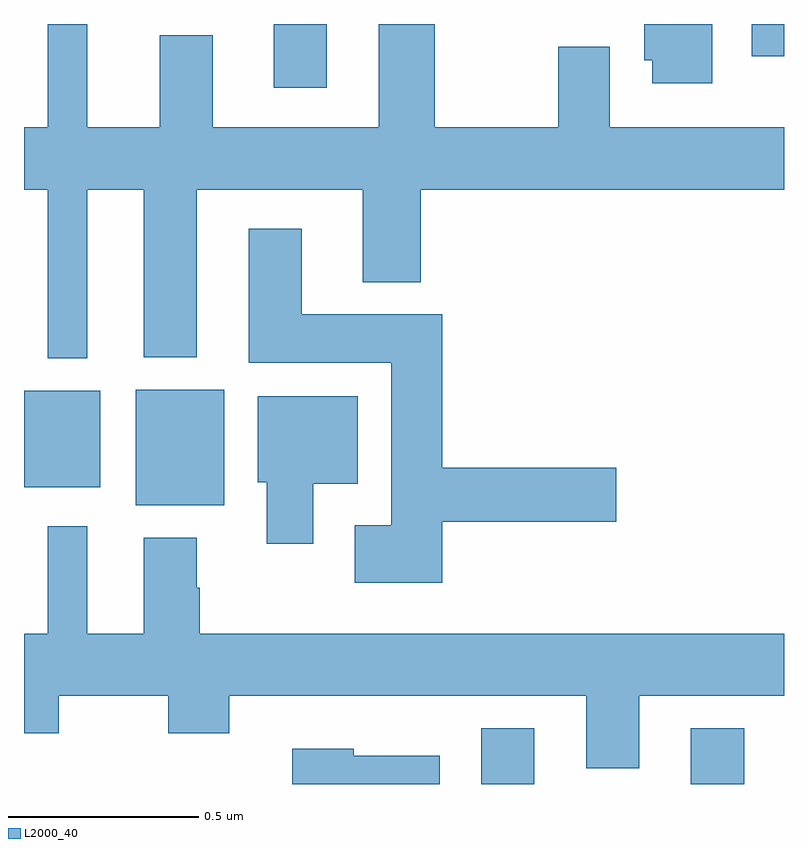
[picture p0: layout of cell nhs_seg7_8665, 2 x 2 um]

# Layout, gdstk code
import gdstk
lib = gdstk.Library(unit=1e-6, precision=1e-09)
def R(c, l, rs):  # rectangles x0, y0, x1, y1
    for r in rs: c.add(gdstk.rectangle(r[:2], r[2:], *l))
def P(c, l, *ps):  # polygons
    for p in ps: c.add(gdstk.Polygon(p, *l))
L2000_40 = (2000, 40)

nhs_seg7_8665 = lib.new_cell('nhs_seg7_8665')
R(nhs_seg7_8665, L2000_40, [(228.203,1051,228.343,1051.147), (228.755,1051,228.895,1051.147), (227.294,1051.733,227.527,1052.038), (227,1051.781,227.2,1052.035), (227.657,1052.832,227.797,1053), (228.915,1052.915,229,1053)])
P(nhs_seg7_8665, L2000_40, [(227.167,1052.564),(227.315,1052.564),(227.315,1052.123),(227.455,1052.123),(227.455,1052.564),(227.891,1052.564),(227.891,1052.321),(228.044,1052.321),(228.044,1052.564),(229,1052.564),(229,1052.728),(228.541,1052.728),(228.541,1052.94),(228.406,1052.94),(228.406,1052.728),(228.081,1052.728),(228.081,1053),(227.933,1053),(227.933,1052.728),(227.497,1052.728),(227.497,1052.971),(227.357,1052.971),(227.357,1052.728),(227.167,1052.728),(227.167,1053),(227.063,1053),(227.063,1052.728),(227,1052.728),(227,1052.564),(227.063,1052.564),(227.063,1052.12),(227.167,1052.12)],
  [(228.811,1053),(228.632,1053),(228.632,1052.904),(228.653,1052.904),(228.653,1052.844),(228.811,1052.844)],
  [(228.101,1051.69),(228.559,1051.69),(228.559,1051.832),(228.101,1051.832),(228.101,1052.236),(227.731,1052.236),(227.731,1052.461),(227.591,1052.461),(227.591,1052.108),(227.966,1052.108),(227.966,1051.681),(227.871,1051.681),(227.871,1051.529),(228.101,1051.529)],
  [(227.761,1051.79),(227.878,1051.79),(227.878,1052.02),(227.615,1052.02),(227.615,1051.794),(227.639,1051.794),(227.639,1051.632),(227.761,1051.632)],
  [(228.619,1051.232),(229,1051.232),(229,1051.396),(227.463,1051.396),(227.463,1051.517),(227.455,1051.517),(227.455,1051.648),(227.315,1051.648),(227.315,1051.396),(227.167,1051.396),(227.167,1051.678),(227.063,1051.678),(227.063,1051.396),(227,1051.396),(227,1051.133),(227.091,1051.133),(227.091,1051.232),(227.38,1051.232),(227.38,1051.133),(227.54,1051.133),(227.54,1051.232),(228.479,1051.232),(228.479,1051.042),(228.619,1051.042)],
  [(228.094,1051.075),(227.868,1051.075),(227.868,1051.093),(227.706,1051.093),(227.706,1051),(228.094,1051)])

lib.write_gds('nhs_seg7_8665.gds')
